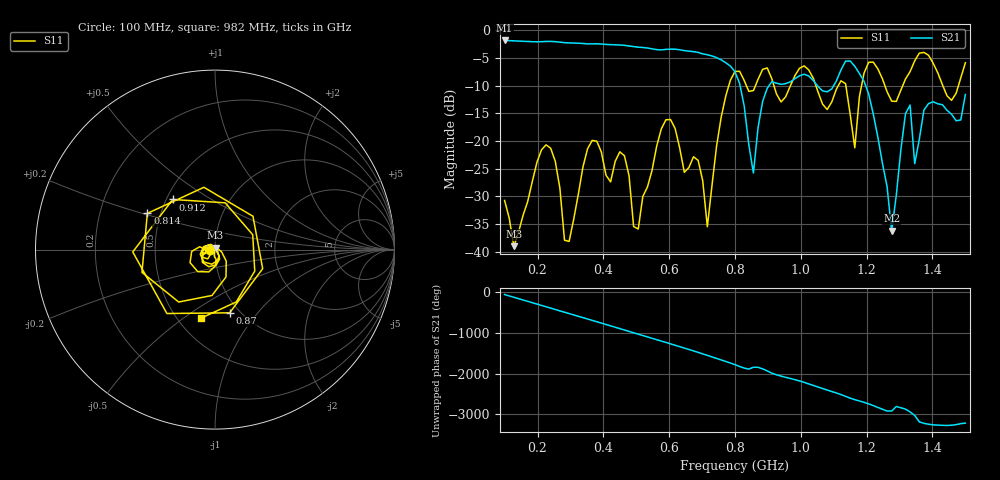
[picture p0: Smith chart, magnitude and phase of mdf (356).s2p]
! NanoVNA-App
! Date: 2025-09-25 15:41:11
! Start: 100MHz Stop: 1,5GHz Points: 101
! S-Parameter data: F S11 S21 S12 S22
# Hz S RI R 50
!  Frequency  S11_Real  S11_Imag  S21_Real  S21_Imag  S12_Real  S12_Imag  S22_Real  S22_Imag
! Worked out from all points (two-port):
!   101 points, 100 MHz to 1.5 GHz, reference 50 ohm
!   highest |S21| = -1.80 dB at 100 MHz (marker M1); lowest = -36.2 dB at 1.276 GHz (marker M2)
!   |S21| within 3 dB of the highest: start of sweep to 739.2 MHz
!   lowest |S11| = -39.0 dB at 128 MHz (marker M3), VSWR 1.02, Z = 50.3 + j1.07 ohm
!   |S11| at or under -10 dB: start of sweep to 781 MHz; 918.4 MHz to 968.3 MHz (49.83 MHz wide, 5.28 % of centre); 1.046 GHz to 1.114 GHz (67.84 MHz wide, 6.28 % of centre) (the widest 3 of 7)
!   S12 and S22 are empty: the file has one direction only
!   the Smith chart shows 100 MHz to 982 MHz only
!   S11 on the Smith chart (normalised r, x): 100 MHz: 0.94, -0.01; 814 MHz: 0.42, +0.21; 870 MHz: 0.90, -0.73; 912 MHz: 0.54, +0.35; 982 MHz: 0.65, -0.58
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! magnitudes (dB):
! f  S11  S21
! 100 MHz  -30.7  -1.8
! 128 MHz  -39.0  -1.9
! 212 MHz  -21.6  -2.0
! 282 MHz  -37.9  -2.2
! 338 MHz  -24.7  -2.3
! 464 MHz  -22.6  -2.7
! 506 MHz  -35.9  -3.0
! 576 MHz  -17.8  -3.5
! 716 MHz  -35.5  -4.4
! 800 MHz  -7.4  -7.5
! 814 MHz  -7.4  -9.6
! 856 MHz  -10.9  -25.8
! 870 MHz  -8.8  -17.6
! 912 MHz  -8.8  -9.2
! 982 MHz  -8.2  -8.7
! 1.038 GHz  -8.6  -9.0
! 1.164 GHz  -21.2  -6.5
! 1.192 GHz  -7.7  -9.2
! 1.276 GHz  -12.8  -36.2
! 1.332 GHz  -7.4  -13.5
! 1.346 GHz  -5.5  -24.1
! 1.5 GHz  -5.8  -11.6
